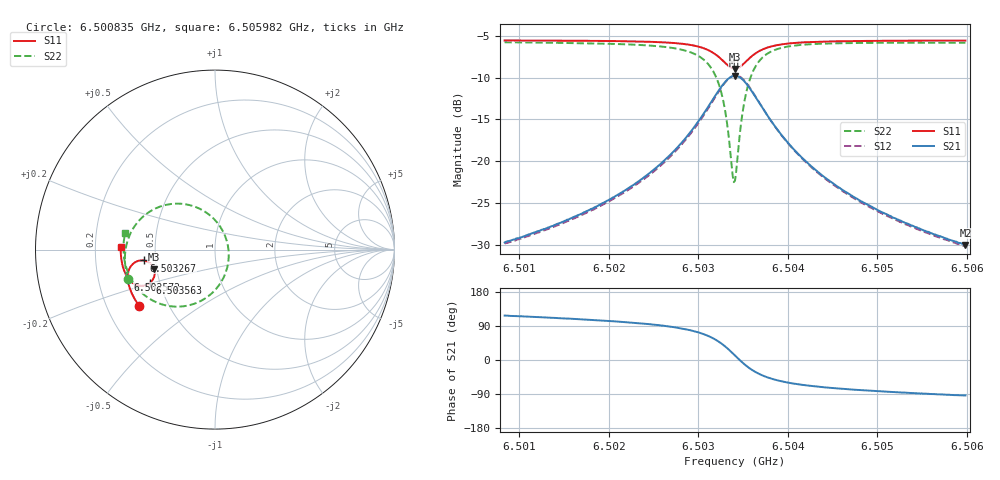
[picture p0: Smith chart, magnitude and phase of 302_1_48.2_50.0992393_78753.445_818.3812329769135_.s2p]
#  HZ  S  RI  R  50.00
! Rohde & Schwarz Vector Network Analyzer
! Rohde-Schwarz,ZNB20-2Port,1311601062101988,3.16
! Created: UTC 3/20/2024, 11:49:37 AM
! freq[Hz]  re:S11  im:S11  re:S21  im:S21  re:S12  im:S12  re:S22  im:S22
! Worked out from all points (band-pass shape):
!   401 points, 6.500835 GHz to 6.505982 GHz, reference 50 ohm
!   highest |S21| = -9.79 dB at 6.503408 GHz (marker M1); lowest = -30.0 dB at 6.505982 GHz (marker M2)
!   |S21| within 3 dB of the highest: 6.503151 GHz to 6.503666 GHz (514.8 kHz wide, 0.00792 % of centre)
!   lowest |S11| = -9.0 dB at 6.503408 GHz (marker M3), VSWR 2.11, Z = 24.2 - j6.07 ohm
!   |S11| at or under -10 dB: nowhere
!   |S22| runs from -22.5 to -5.8 dB; largest |S21 - S12| = 0.011
!   S11 on the Smith chart (normalised r, x): 6.500835 GHz: 0.34, -0.30; 6.502572 GHz: 0.33, -0.15; 6.503267 GHz: 0.43, -0.06; 6.503563 GHz: 0.44, -0.20; 6.505982 GHz: 0.31, +0.01
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6.5008347e9  -0.4209 -0.3163  -0.015 0.0291  -0.0134 0.0292  -0.4866 -0.1644
6.5016969e9  -0.4587 -0.2536  -0.0144 0.0465  -0.0122 0.0462  -0.5016 -0.0746
6.5021731e9  -0.4759 -0.2121  -0.0117 0.0655  -0.00876 0.0646  -0.4997 -0.00854
6.5025592e9  -0.4855 -0.1703  -0.00313 0.0945  0.000509 0.0923  -0.4812 0.0664
6.502572e9  -0.4857 -0.1686  -0.00243 0.0959  0.00116 0.0935  -0.48 0.0695
6.5028165e9  -0.4851 -0.1334  0.0158 0.1288  0.0195 0.1251  -0.4419 0.139
6.5029967e9  -0.4737 -0.1003  0.0501 0.1645  0.0534 0.1594  -0.3739 0.205
6.503164e9  -0.4393 -0.0673  0.1273 0.1978  0.1285 0.1914  -0.2324 0.2554
6.5032669e9  -0.3969 -0.0605  0.2119 0.189  0.2122 0.1836  -0.0849 0.2275
6.5033184e9  -0.3718 -0.0691  0.2598 0.1611  0.2606 0.1564  -0.00545 0.1703
6.5033828e9  -0.3453 -0.0952  0.3069 0.098  0.3094 0.093  0.0654 0.0491
6.5034085e9  -0.339 -0.1096  0.317 0.0663  0.3199 0.0605  0.0759 -0.0101
6.5034214e9  -0.3372 -0.1172  0.3195 0.0497  0.3227 0.0433  0.0767 -0.0403
6.5034986e9  -0.3433 -0.1614  0.3025 -0.0435  0.3044 -0.0535  0.019 -0.2032
6.5035629e9  -0.3642 -0.1869  0.2602 -0.0968  0.2592 -0.1079  -0.0761 -0.2845
6.5036659e9  -0.4032 -0.2015  0.187 -0.1324  0.1816 -0.1415  -0.2235 -0.3176
6.5038332e9  -0.4486 -0.1917  0.1067 -0.1294  0.0999 -0.1342  -0.3682 -0.2716
6.5040133e9  -0.4756 -0.1704  0.0628 -0.1098  0.0568 -0.1119  -0.439 -0.2076
6.5042707e9  -0.4962 -0.1403  0.0334 -0.086  0.0288 -0.0864  -0.4818 -0.1362
6.5046568e9  -0.5117 -0.1007  0.0148 -0.0634  0.0114 -0.0629  -0.5038 -0.0618
6.5051329e9  -0.5212 -0.057  0.00494 -0.047  0.00276 -0.0464  -0.5098 0.00393
6.5059823e9  -0.5258 0.0145  -0.00203 -0.0315  -0.00347 -0.0309  -0.5016 0.0922
